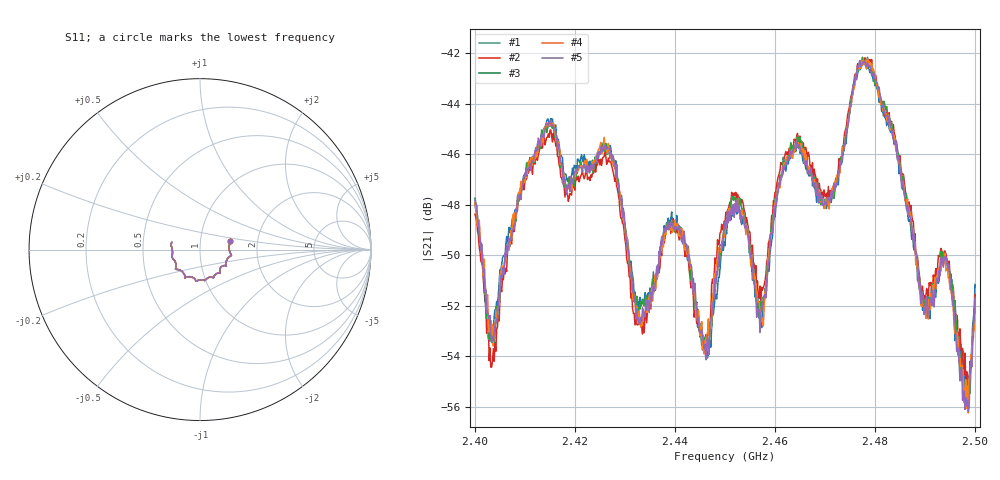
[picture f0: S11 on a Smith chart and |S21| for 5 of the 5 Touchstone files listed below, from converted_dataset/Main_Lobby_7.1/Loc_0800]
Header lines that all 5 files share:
# Hz S RI R 50
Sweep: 2.4 GHz to 2.5 GHz
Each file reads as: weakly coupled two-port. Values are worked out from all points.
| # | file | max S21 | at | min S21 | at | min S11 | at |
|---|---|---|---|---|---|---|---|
| 1 | Lab_139_1Ch1.s2p | -42.34 dB | 2.4773 GHz | -55.4 dB | 2.4985 GHz | -15.9 dB | 2.4257 GHz |
| 2 | Lab_139_2Ch1.s2p | -42.17 dB | 2.478 GHz | -55.5 dB | 2.4988 GHz | -15.9 dB | 2.4258 GHz |
| 3 | Lab_139_4Ch1.s2p | -42.15 dB | 2.4775 GHz | -55.9 dB | 2.4985 GHz | -15.9 dB | 2.4257 GHz |
| 4 | Lab_139_7Ch1.s2p | -42.23 dB | 2.4785 GHz | -56.2 dB | 2.4987 GHz | -15.9 dB | 2.4257 GHz |
| 5 | Lab_139_9Ch1.s2p | -42.29 dB | 2.477 GHz | -56.2 dB | 2.4987 GHz | -15.9 dB | 2.4257 GHz |
